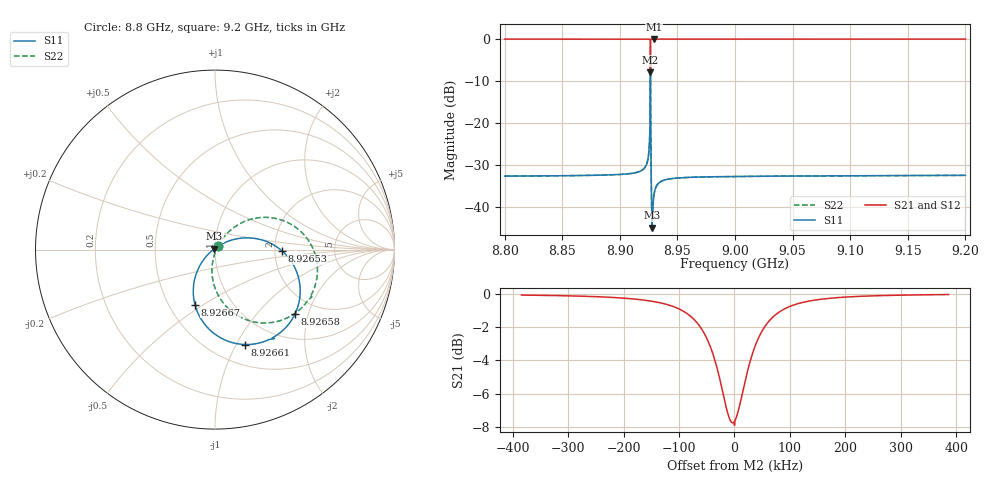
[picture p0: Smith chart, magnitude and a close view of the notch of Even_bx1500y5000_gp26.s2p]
! Sonnet Data File
! From: emgraph Version : 16.52
! From Project: Resonator2
! Data is De-embedded
! Data File Written: 10/04/2017 18:31:03
!< HDATE 10/04/2017 15:54:54
!< MDATE 10/04/2017 15:55:28
!< PARAMS
!< gap = 26.0
!< Length = 400.0
!< END PARAMS
# GHZ S MA R 50.00000
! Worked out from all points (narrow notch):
!   2194 points, 8.8 GHz to 9.2 GHz, reference 50 ohm
!   highest |S21| = 0.00 dB at 8.92966 GHz (marker M1); lowest = -7.9 dB at 8.9266 GHz (marker M2)
!   notch at M2: 7.9 dB deep, 64.9 kHz wide at half that depth
!   lowest |S11| = -44.8 dB at 8.92795 GHz (marker M3), VSWR 1.01, Z = 49.7 + j0.463 ohm
!   |S11| at or under -10 dB: start of sweep to 8.92651 GHz; 8.92667 GHz to end of sweep
!   |S22| runs from -43.9 to -4.4 dB; largest |S21 - S12| = 0
!   S11 on the Smith chart (normalised r, x): 8.8 GHz: 1.03, +0.04; 8.92653 GHz: 2.19, -0.04; 8.92658 GHz: 1.54, -1.65; 8.92661 GHz: 0.71, -1.09; 8.92667 GHz: 0.67, -0.46; 9.2 GHz: 1.03, +0.04
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8.8  0.02347 49.4  0.9997 -40.3  0.9997 -40.3  0.02347 50.0
!< P1 F=8.8 Eeff=(6.44890994 -2.9739e-5) Z0=(51.8068348 1.19496e-4) R=0.0 C=0.0
!< P2 F=8.8 Eeff=(6.44890994 -2.9739e-5) Z0=(51.8068348 1.19496e-4) R=0.0 C=0.0
8.86675  0.02387 48.9  0.9997 -40.6  0.9997 -40.6  0.02387 49.9
8.922  0.03 45.3  0.9995 -41.2  0.9995 -41.2  0.03001 52.2
8.925499  0.0509 38.7  0.9982 -42.5  0.9982 -42.5  0.05102 55.3
8.926227  0.104 30.2  0.9901 -45.5  0.9901 -45.5  0.1045 53.8
8.926435  0.199 19.2  0.958 -51.0  0.958 -51.0  0.2003 46.1
8.92653  0.3733 -1.1  0.8292 -60.7  0.8292 -60.7  0.3761 27.6
8.926584  0.5725 -38.9  0.4724 -58.7  0.4724 -58.7  0.5772 -9.0
8.926601  0.596 -56.3  0.4021 -37.2  0.4021 -37.2  0.6009 -26.0
8.926615  0.555 -72.4  0.4975 -19.9  0.4975 -19.9  0.5598 -41.8
8.926671  0.3266 -110.0  0.852 -21.3  0.852 -21.3  0.3296 -78.0
8.926753  0.1665 -128.3  0.9606 -30.1  0.9606 -30.1  0.1683 -94.1
8.926877  0.0863 -138.2  0.988 -34.6  0.988 -34.6  0.08744 -100.1
8.927257  0.02441 -154.1  0.9982 -38.2  0.9982 -38.2  0.02513 -95.6
8.927633  0.008925 177.9  0.9994 -39.2  0.9994 -39.2  0.009698 -70.6
8.927953  0.005727 125.5  0.9996 -39.6  0.9996 -39.6  0.006416 -24.6
8.929659  0.01401 60.0  0.9998 -40.3  0.9998 -40.3  0.01407 38.9
8.93341  0.01919 52.7  0.9998 -40.6  0.9998 -40.6  0.0192 46.0
9  0.02326 48.9  0.9997 -41.2  0.9997 -41.2  0.02326 48.7
9.06675  0.02359 48.5  0.9997 -41.5  0.9997 -41.5  0.02359 48.5
9.1335  0.0238 48.1  0.9997 -41.8  0.9997 -41.8  0.0238 48.3
9.2  0.02398 47.8  0.9997 -42.1  0.9997 -42.1  0.02398 48.0
